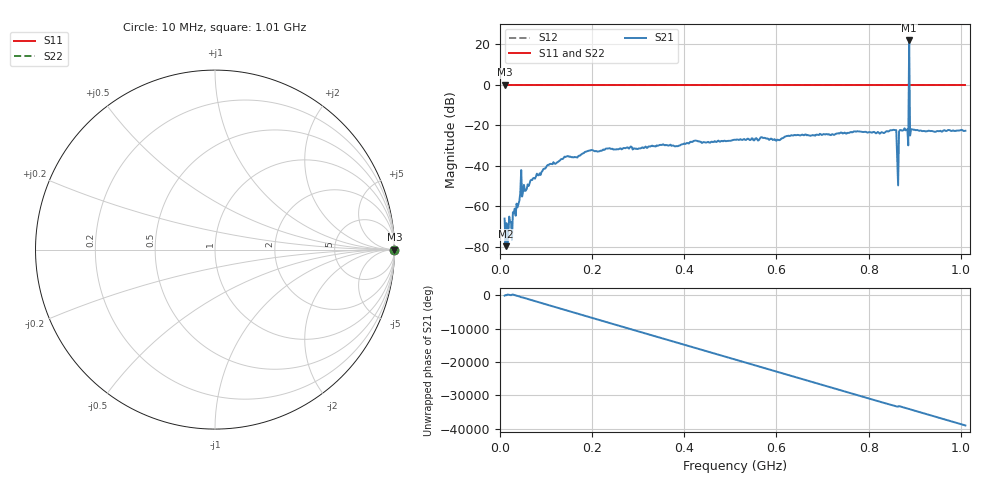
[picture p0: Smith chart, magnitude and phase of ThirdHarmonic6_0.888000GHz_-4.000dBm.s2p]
! 8/16/2025 5:11:50 AM
! C:\ANRITSUVNA\TEMP\TEMP.S2P
! CHANNEL.1
! TR.MEASUREMENT
! RAW.DATA
! RF.CORRECTION.OFF
! AVERAGING.OFF
! IF.BANDWIDTH: 5KHZ
! SWEEPTYPE:  FREQ.SWEEP(Linear)
! Reference Plane Port Info
! PORT:  PORT1  PORT2
! DISTANCE:  0  m  0  m
! TIME:  0  s  0  s
! PHASE.OFFSET:  0  deg.  0  deg.
! LOSS:  0  dB  0  dB
! REF.LOSS:  0  dB  0  dB
! REF.FREQ:  0  Hz  0  Hz
! Power Info
! POWER:  -20  dBm  -20  dBm
! EFF.POWER:  -20  dBm  -20  dBm
! SOURCE.ATTEN:  0  dB  0  dB
! TEST.ATTEN:  0  dB  0  dB
# GHZ S RI R 50.0
! FREQ.GHZ  S11RE  S11IM  S21RE  S21IM  S12RE  S12IM  S22RE  S22IM
!; PortSelection: Port_12
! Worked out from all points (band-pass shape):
!   501 points, 10 MHz to 1.01 GHz, reference 50 ohm
!   highest |S21| = 21.92 dB at 888 MHz (marker M1); lowest = -79.7 dB at 12 MHz (marker M2)
!   |S21| within 3 dB of the highest: 887.8842 MHz to 888.1277 MHz (243.5 kHz wide, 0.0274 % of centre)
!   lowest |S11| = 0.0 dB at 10 MHz (marker M3)
!   |S11| at or under -10 dB: nowhere
!   |S22| runs from 0.0 to 0.0 dB; largest |S21 - S12| = 13
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0.01  1 0  -0.000438 -0.000236  1 0  1 0
0.012  1 0  9.86e-05 3.09e-05  1 0  1 0
0.016  1 0  -9.66e-05 6.35e-05  1 0  1 0
0.03  1 0  0.000133 0.00067  1 0  1 0
0.048  1 0  0.000514 0.00167  1 0  1 0
0.106  1 0  -0.00757 -0.0073  1 0  1 0
0.178  1 0  -0.0191 -0.00493  1 0  1 0
0.344  1 0  0.0313 -0.00508  1 0  1 0
0.51  1 0  -0.0425 0.0114  1 0  1 0
0.678  1 0  -0.0179 -0.0543  1 0  1 0
0.844  1 0  0.0412 0.0582  1 0  1 0
0.856  1 0  0.0234 -0.0732  1 0  1 0
0.86  1 0  -0.0447 0.0608  1 0  1 0
0.862  1 0  -0.00175 0.017  1 0  1 0
0.866  1 0  -0.028 -0.0644  1 0  1 0
0.87  1 0  0.0109 0.0755  1 0  1 0
0.882  1 0  0.0595 -0.0471  1 0  1 0
0.884  1 0  -0.0403 -0.0689  1 0  1 0
0.888  1 0  -3.271 12.04  1 0  1 0
0.892  1 0  0.0047 -0.0805  1 0  1 0
0.894  1 0  -0.0778 -0.0169  1 0  1 0
1.01  1 0  -0.0661 -0.0314  1 0  1 0
